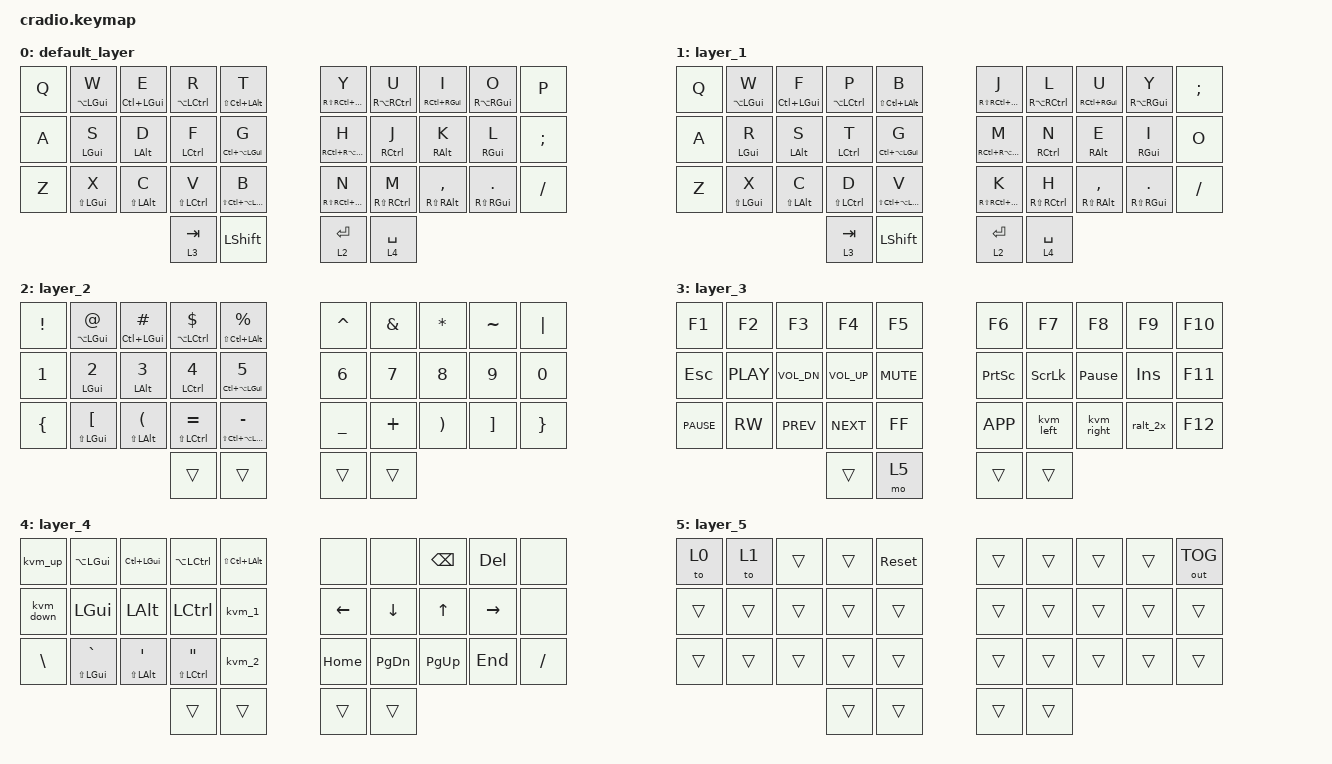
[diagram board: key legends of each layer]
/*
 * Copyright (c) 2020 The ZMK Contributors
 *
 * SPDX-License-Identifier: MIT
 */

#include <behaviors.dtsi>
#include <dt-bindings/zmk/keys.h>
#include <dt-bindings/zmk/outputs.h>
#include <dt-bindings/zmk/bt.h>

&lt {
    quick-tap-ms = <200>;
};

/ {
    behaviors {
        hm: homerow_mods {
            compatible = "zmk,behavior-hold-tap";
            label = "HOMEROW_MODS";
            #binding-cells = <2>;
            tapping-term-ms = <250>;
            quick-tap-ms = <200>;
            flavor = "tap-preferred";
            bindings = <&kp>, <&kp>;
        };
        tm: thumb_mods {
            compatible = "zmk,behavior-hold-tap";
            label = "THUMB_MODS";
            #binding-cells = <2>;
            tapping-term-ms = <200>;    // <---[[moderate duration]]
            quick-tap-ms = <200>;
            flavor = "tap-preferred";
            bindings = <&kp>, <&kp>;
        };
    };

    // KVM hotkey macros: double Scroll Lock + a key, or double Right Alt.
    // KVMs watch for the hotkey prefix as ordinary typing; taps sent
    // back-to-back at USB speed can be missed, hence the pauses.
    macros {
        kvm_1: kvm_1 {
            compatible = "zmk,behavior-macro";
            #binding-cells = <0>;
            wait-ms = <50>;
            bindings = <&kp SCROLLLOCK &kp SCROLLLOCK &kp N1>;
        };
        kvm_2: kvm_2 {
            compatible = "zmk,behavior-macro";
            #binding-cells = <0>;
            wait-ms = <50>;
            bindings = <&kp SCROLLLOCK &kp SCROLLLOCK &kp N2>;
        };
        kvm_up: kvm_up {
            compatible = "zmk,behavior-macro";
            #binding-cells = <0>;
            wait-ms = <50>;
            bindings = <&kp SCROLLLOCK &kp SCROLLLOCK &kp UP>;
        };
        kvm_down: kvm_down {
            compatible = "zmk,behavior-macro";
            #binding-cells = <0>;
            wait-ms = <50>;
            bindings = <&kp SCROLLLOCK &kp SCROLLLOCK &kp DOWN>;
        };
        kvm_left: kvm_left {
            compatible = "zmk,behavior-macro";
            #binding-cells = <0>;
            wait-ms = <50>;
            bindings = <&kp SCROLLLOCK &kp SCROLLLOCK &kp LEFT>;
        };
        kvm_right: kvm_right {
            compatible = "zmk,behavior-macro";
            #binding-cells = <0>;
            wait-ms = <50>;
            bindings = <&kp SCROLLLOCK &kp SCROLLLOCK &kp RIGHT>;
        };
        ralt_2x: ralt_2x {
            compatible = "zmk,behavior-macro";
            #binding-cells = <0>;
            wait-ms = <50>;
            bindings = <&kp RALT &kp RALT>;
        };
    };

    keymap {
        compatible = "zmk,keymap";

        default_layer {
// ---------------------------------------------------------------------------------------------------------------------------------
// Hold keys: (mods are symetrical)
// |     | A-G | C-G | C-A | SCA |                    |     |     |     |     |     |
// |     |  G  |  A  |  C  | CAG |                    |     |     |     |     |     |
// |     | S-G | S-A | S-C | SCAG|                    |     |     |     |     |     |
//                         | L3  |     |        | L2  | L4  |     
// ---------------------------------------------------------------------------------------------------------------------------------
// |  Q  |  W  |  E  |  R  |  T  |                    |  Y  |  U  |  I  |  O  |  P  |
// |  A  |  S  |  D  |  F  |  G  |                    |  H  |  J  |  K  |  L  |  ;  |
// |  Z  |  X  |  C  |  V  |  B  |                    |  N  |  M  |  ,  |  .  |  /  |
//                         | TAB |Shift|        | RET | SPC |
            bindings = <
    &kp Q &hm LA(LGUI) W &hm LC(LGUI) E &hm LA(LCTRL) R &hm LS(LC(LALT))     T                            &hm RS(RC(RALT))     Y &hm RA(RCTRL) U &hm RC(RGUI) I     &hm RA(RGUI) O   &kp P     
    &kp A &hm    LGUI  S &hm    LALT  D &hm    LCTRL  F &hm LC(LA(LGUI))     G                            &hm RC(RA(RGUI))     H &hm    RCTRL  J &hm    RALT  K     &hm    RGUI  L   &kp SEMI
    &kp Z &hm LS(LGUI) X &hm LS(LALT) C &hm LS(LCTRL) V &hm LS(LC(LA(LGUI))) B                            &hm RS(RC(RA(RGUI))) N &hm RS(RCTRL) M &hm RS(RALT) COMMA &hm RS(RGUI) DOT &kp FSLH  
                                                        &lt 3 TAB              &kp LSHFT        &lt 2 RET &lt 4 SPACE
            >;
        };

        layer_1 {
// ---------------------------------------------------------------------------------------------------------------------------------
// Hold keys: Same as above
// ---------------------------------------------------------------------------------------------------------------------------------
// Tap keys for Colemak
// |  Q  |  W  |  F  |  P  |  B  |                    |  J  |  L  |  U  |  Y  |  ;  |
// |  A  |  R  |  S  |  T  |  G  |                    |  M  |  N  |  E  |  I  |  O  |
// |  Z  |  X  |  C  |  D  |  V  |                    |  K  |  H  |  ,  |  .  |  /  |
//                         | TAB | SPC |        |     | RET |
            bindings = <
    &kp Q &hm LA(LGUI) W &hm LC(LGUI) F &hm LA(LCTRL) P &hm LS(LC(LALT))     B                              &hm RS(RC(RA(RGUI))) J &hm RA(RCTRL) L &hm RC(RGUI) U     &hm RA(RGUI) Y   &kp SEMI
    &kp A &hm    LGUI  R &hm    LALT  S &hm    LCTRL  T &hm LC(LA(LGUI))     G                              &hm RC(RA(RGUI))     M &hm    RCTRL  N &hm    RALT  E     &hm    RGUI  I   &kp O
    &kp Z &hm LS(LGUI) X &hm LS(LALT) C &hm LS(LCTRL) D &hm LS(LC(LA(LGUI))) V                              &hm RS(RC(RALT))     K &hm RS(RCTRL) H &hm RS(RALT) COMMA &hm RS(RGUI) DOT &kp FSLH
                                                        &lt 3 TAB              &kp LSHFT          &lt 2 RET &lt 4 SPACE
            >;
        };

        layer_2 {
// ---------------------------------------------------------------------------------------------------------------------------------
// |  !  |  @  |  #  |  $  |  %  |                     |  ^  |  &  |  *  |  ~  |  |   |
// |  1  |  2  |  3  |  4  |  5  |                     |  6  |  7  |  8  |  9  |  0   |
// |  {  |  [  |  (  |  =  |  -  |                     |  _  |  +  |  )  |  ]  |  }   |
//                         |     |     |        |      |     |
            bindings = <
    &kp EXCL &hm LA(LGUI) AT   &hm LC(LGUI) HASH  &hm LA(LCTRL) DLLR  &hm LS(LC(LALT))     PRCNT                      &kp CARET  &kp AMPS &kp STAR &kp TILDE &kp PIPE
    &kp N1   &hm    LGUI  N2   &hm    LALT  N3    &hm    LCTRL  N4    &hm LC(LA(LGUI))     N5                         &kp N6     &kp N7   &kp N8   &kp N9    &kp N0  
    &kp LBRC &hm LS(LGUI) LBKT &hm LS(LALT) LPAR  &hm LS(LCTRL) EQUAL &hm LS(LC(LA(LGUI))) MINUS                      &kp UNDER  &kp PLUS &kp RPAR &kp RBKT  &kp RBRC
                                                                      &trans                     &trans        &trans &trans
            >;
        };

        layer_3 {
// ---------------------------------------------------------------------------------------------------------------------------------
// | F1  | F2  | F3  | F4  | F5  |                    | F6  | F7  | F8  | F9  | F10 |
// | ESC |PLAY |VOL-D|VOL-U|MUTE |                    |PrScr|ScrLk|Pause|Inser| F11 |
// |PAUSE| RWD | PREV|NEXT | FWD |                    | App |KVM ←|KVM →|RAlt2| F12 |
//                         |     |     |        |     |     |
            bindings = <
    &kp F1      &kp F2     &kp F3       &kp F4       &kp F5                          &kp F6          &kp F7         &kp F8          &kp F9     &kp F10
    &kp ESC     &kp C_PLAY &kp K_VOL_DN &kp K_VOL_UP &kp C_MUTE                      &kp PRINTSCREEN &kp SCROLLLOCK &kp PAUSE_BREAK &kp INSERT &kp F11
    &kp C_PAUSE &kp C_RW   &kp C_PREV   &kp C_NEXT   &kp C_FF                        &kp K_APP       &kvm_left      &kvm_right      &ralt_2x   &kp F12
                                                     &trans     &mo 5         &trans &trans
            >;
        };

        layer_4 {
// KVM ↑/↓/1/2 send the KVM hotkey (Scroll Lock twice + the key).
// ---------------------------------------------------------------------------------------------------------------------------------
// |KVM ↑| A-G | C-G | C-A | SCA |                    |     |     | BKS | DEL |     |
// |KVM ↓|  G  |  A  |  C  |KVM 1|                    |LEFT |DOWN | UP  |RIGHT|     |
// |  \  |  `  |  '  |  "  |KVM 2|                    |HOME |P-DW |P-UP | END |  /  |
//                         |     |     |        |     |     |
            bindings = <
    &kvm_up   &kp LA(LGUI)      &kp LC(LGUI)     &kp LA(LCTRL)     &kp LS(LC(LALT))                          &none    &none     &kp BSPC  &kp DEL   &none
    &kvm_down &kp   LGUI        &kp    LALT      &kp    LCTRL      &kvm_1                                    &kp LEFT &kp DOWN  &kp UP    &kp RIGHT &none
    &kp BSLH &hm LS(LGUI) GRAVE &hm LS(LALT) SQT &hm LS(LCTRL) DQT &kvm_2                                    &kp HOME &kp PG_DN &kp PG_UP &kp END   &kp FSLH
                                                                   &trans               &trans        &trans &trans
            >;
        };

        layer_5 {
// ---------------------------------------------------------------------------------------------------------------------------------
// |     |     |     |     |     |                    |     |     |     |     |     |
// |     |     |     |     |     |                    |     |     |     |     |     |
// |     |     |     |     |     |                    |     |     |     |     |     |
//                         |     |     |        |     |     |
            bindings = <
    &to 0  &to 1  &trans &trans &sys_reset                  &trans &trans &trans &trans  &out OUT_TOG
    &trans &trans &trans &trans &trans                      &trans &trans &trans &trans  &trans
    &trans &trans &trans &trans &trans                      &trans &trans &trans &trans  &trans
                                &trans &trans        &trans &trans
            >;
        };

    };
};
